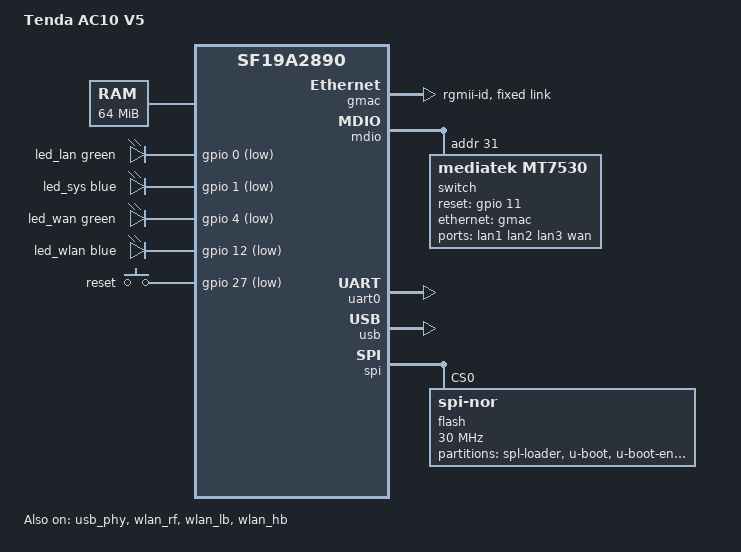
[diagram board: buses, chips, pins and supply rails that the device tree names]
// SPDX-License-Identifier: GPL-2.0-or-later OR MIT

/dts-v1/;

#include <dt-bindings/input/input.h>
#include <dt-bindings/leds/common.h>
#include "sf19a2890.dtsi"

/ {
	model = "Tenda AC10 V5";
	compatible = "tenda,ac10-v5", "siflower,sf19a2890";

	aliases {
		led-boot = &led_sys;
		led-failsafe = &led_sys;
		led-running = &led_sys;
		led-upgrade = &led_sys;
		label-mac-device = &gmac;
	};

	chosen {
		stdout-path = "serial0:115200n8";
	};

	memory@0 {
		device_type = "memory";
		reg = <0x0 0x4000000>;
	};

	leds {
		compatible = "gpio-leds";

		led_lan: lan {
			function = LED_FUNCTION_LAN;
			color = <LED_COLOR_ID_GREEN>;
			gpios = <&gpio 0 GPIO_ACTIVE_LOW>;
		};

		led_sys: sys {
			function = LED_FUNCTION_STATUS;
			color = <LED_COLOR_ID_BLUE>;
			gpios = <&gpio 1 GPIO_ACTIVE_LOW>;
		};

		led_wan: wan {
			function = LED_FUNCTION_WAN;
			color = <LED_COLOR_ID_GREEN>;
			gpios = <&gpio 4 GPIO_ACTIVE_LOW>;
		};

		led_wlan: wlan {
			function = LED_FUNCTION_WLAN;
			color = <LED_COLOR_ID_BLUE>;
			gpios = <&gpio 12 GPIO_ACTIVE_LOW>;
		};
	};

	keys {
		compatible = "gpio-keys";

		reset {
			label = "reset";
			gpios = <&gpio 27 GPIO_ACTIVE_LOW>;
			linux,code = <KEY_RESTART>;
		};
	};
};

/* CPU = pll_cpu / 2; the vendor SDK runs it up to 1.2 GHz at this voltage */
&clk {
	assigned-clocks = <&clk CLK_PLL_CPU>;
	assigned-clock-rates = <2200000000>;
};

/* cpufreq only changes the CPU divider; the core voltage is fixed */
/ {
	cpu_opp_table: opp-table {
		compatible = "operating-points-v2";
		opp-shared;

		opp-1100000000 {
			opp-hz = /bits/ 64 <1100000000>;
			clock-latency-ns = <10000>;
		};
		opp-733333333 {
			opp-hz = /bits/ 64 <733333333>;
			clock-latency-ns = <10000>;
		};
		opp-550000000 {
			opp-hz = /bits/ 64 <550000000>;
			clock-latency-ns = <10000>;
		};
		opp-440000000 {
			opp-hz = /bits/ 64 <440000000>;
			clock-latency-ns = <10000>;
		};
		opp-366666666 {
			opp-hz = /bits/ 64 <366666666>;
			clock-latency-ns = <10000>;
		};
	};
};

&cpu0 {
	operating-points-v2 = <&cpu_opp_table>;
};

&cpu1 {
	operating-points-v2 = <&cpu_opp_table>;
};

&cpu2 {
	operating-points-v2 = <&cpu_opp_table>;
};

&cpu3 {
	operating-points-v2 = <&cpu_opp_table>;
};

&gmac {
	status = "okay";
	siflower,hnat;
	phy-mode = "rgmii-id";
	snps,ps-speed = <1000>;
	nvmem-cells = <&macaddr_factory_0>, <&rgmii_delay_factory_b2>;
	nvmem-cell-names = "mac-address", "rgmii-delay";
	/* the MAC does not report its FIFO size, which DSA's MTU needs */
	tx-fifo-depth = <4096>;

	fixed-link {
		speed = <1000>;
		full-duplex;
		pause;
	};
};

&mdio {
	switch: switch@1f {
		compatible = "mediatek,mt7530";
		reg = <0x1f>;
		reset-gpios = <&gpio 11 GPIO_ACTIVE_HIGH>;

		ports {
			#address-cells = <1>;
			#size-cells = <0>;

			port@1 {
				reg = <1>;
				label = "lan1";
			};

			port@2 {
				reg = <2>;
				label = "lan2";
			};

			port@3 {
				reg = <3>;
				label = "lan3";
			};

			port@4 {
				reg = <4>;
				label = "wan";
			};

			port@5 {
				reg = <5>;
				ethernet = <&gmac>;
				phy-mode = "rgmii";
				/* the GMAC's HNAT engine parses 802.1Q tags only */
				dsa-tag-protocol = "mtk-8021q";

				fixed-link {
					speed = <1000>;
					full-duplex;
					pause;
				};
			};
		};
	};
};

&uart0 {
	status = "okay";
};

&usb {
	status = "okay";
};

&usb_phy {
	status = "okay";
};

&spi {
	status = "okay";

	flash@0 {
		compatible = "jedec,spi-nor";
		reg = <0>;
		spi-max-frequency = <30000000>;

		partitions {
			compatible = "fixed-partitions";
			#address-cells = <1>;
			#size-cells = <1>;

			partition@0 {
				label = "spl-loader";
				reg = <0x00000000 0x00008000>; /* 32k */
				read-only;
			};

			partition@8000 {
				label = "u-boot";
				reg = <0x00008000 0x00067000>; /* 412k */
			};

			partition@6f000 {
				label = "u-boot-env";
				reg = <0x0006f000 0x00001000>; /* 4k */
			};

			factory: partition@70000 {
				label = "factory";
				reg = <0x00070000 0x00010000>; /* 64k */

				nvmem-layout {
					compatible = "fixed-layout";
					#address-cells = <1>;
					#size-cells = <1>;

					macaddr_factory_0: macaddr@0 {
						reg = <0x0 0x6>;
					};

					rgmii_delay_factory_b2: rgmii-delay@b2 {
						reg = <0xb2 0x4>;
					};
				};
			};

			firmware@80000 {
				compatible = "denx,uimage";
				label = "firmware";
				reg = <0x00080000 0x000750000>; /* 7.25MB */
			};

			partition@7d0000 {
				label = "CFM";
				reg = <0x007d0000 0x00010000>; /* 64k */
			};

			partition@7e0000 {
				label = "CFM_BACKUP";
				reg = <0x007e0000 0x00010000>; /* 64k */
			};

			partition@7f0000 {
				label = "CFG";
				reg = <0x007f0000 0x00010000>; /* 64k */
			};
		};
	};
};

/* External PA/FEM on the 5 GHz band, dual-antenna calibration, RF
 * calibration data in the factory partition.
 */
&wlan_rf {
	status = "okay";
	force_expa = <1>;
	siflower,hb-ext-pa;
	dual-antenna-calibrate = <1>;
	mtd-rf-cali-config = <&factory 2048>;
};

&wlan_lb {
	status = "okay";
	/* the driver derives the radio MAC as base + 2 (vendor layout) */
	nvmem-cells = <&macaddr_factory_0>;
	nvmem-cell-names = "mac-address";
	smp-affinity = <2>;
};

&wlan_hb {
	status = "okay";
	smp-affinity = <3>;
	/* the driver derives the radio MAC as base + 6 (vendor layout) */
	nvmem-cells = <&macaddr_factory_0>;
	nvmem-cell-names = "mac-address";
};
